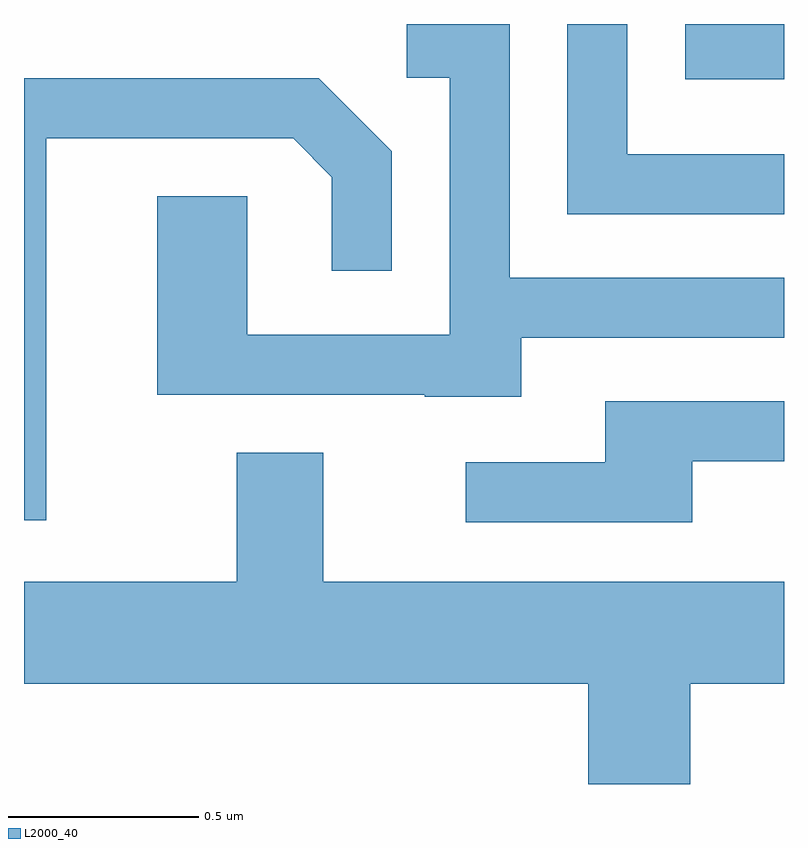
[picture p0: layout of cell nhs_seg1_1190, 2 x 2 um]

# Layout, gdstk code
import gdstk
lib = gdstk.Library(unit=1e-6, precision=1e-09)
def R(c, l, rs):  # rectangles x0, y0, x1, y1
    for r in rs: c.add(gdstk.rectangle(r[:2], r[2:], *l))
def P(c, l, *ps):  # polygons
    for p in ps: c.add(gdstk.Polygon(p, *l))
L2000_40 = (2000, 40)

nhs_seg1_1190 = lib.new_cell('nhs_seg1_1190')
R(nhs_seg1_1190, L2000_40, [(195.351,945.566,195.611,945.712)])
P(nhs_seg1_1190, L2000_40, [(195.611,945.369),(195.199,945.369),(195.199,945.712),(195.041,945.712),(195.041,945.211),(195.611,945.211)],
  [(194.919,944.886),(195.611,944.886),(195.611,945.044),(194.889,945.044),(194.889,945.712),(194.618,945.712),(194.618,945.571),(194.731,945.571),(194.731,944.894),(194.199,944.894),(194.199,945.259),(193.961,945.259),(193.961,944.736),(194.665,944.736),(194.665,944.731),(194.919,944.731)],
  [(193.669,945.411),(194.319,945.411),(194.421,945.309),(194.421,945.063),(194.579,945.063),(194.579,945.377),(194.387,945.569),(193.611,945.569),(193.611,944.406),(193.669,944.406)],
  [(195.369,944.561),(195.611,944.561),(195.611,944.719),(195.141,944.719),(195.141,944.559),(194.773,944.559),(194.773,944.401),(195.369,944.401)],
  [(195.364,943.976),(195.611,943.976),(195.611,944.244),(194.399,944.244),(194.399,944.584),(194.171,944.584),(194.171,944.244),(193.611,944.244),(193.611,943.976),(195.096,943.976),(195.096,943.712),(195.364,943.712)])

lib.write_gds('nhs_seg1_1190.gds')
